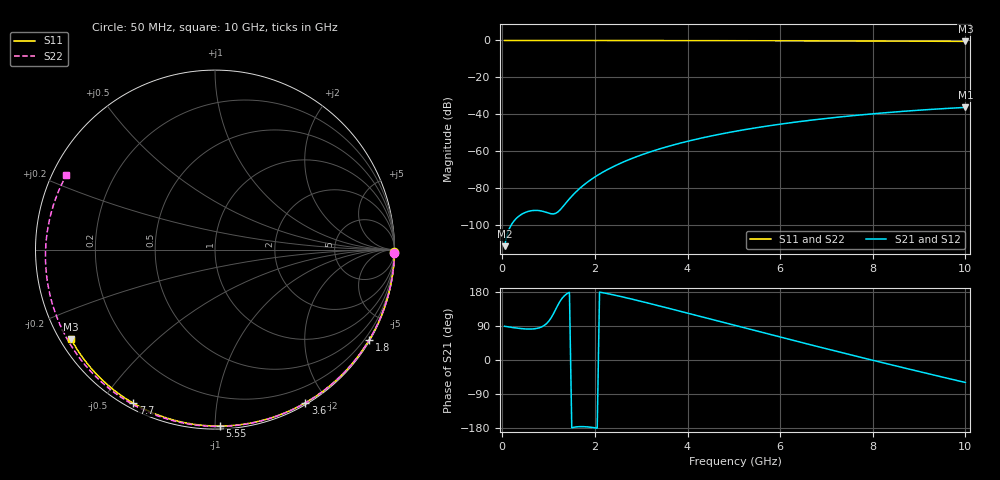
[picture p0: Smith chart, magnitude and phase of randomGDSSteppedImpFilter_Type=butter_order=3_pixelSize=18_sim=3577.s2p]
! freq	dB(S11)	phase(S11)	dB(S12)	phase(S12)
!  dB(S21)	phase(S21)	dB(S22)	phase(S22)
!S-par simulation data
#  GHz  S  DB  R 50
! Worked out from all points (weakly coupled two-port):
!   200 points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, 50 MHz to 10 GHz, reference 50 ohm
!   highest |S21| = -36.29 dB at 10 GHz (marker M1); lowest = -111.5 dB at 50 MHz (marker M2)
!   lowest |S11| = -0.5 dB at 10 GHz (marker M3), VSWR 34.87, Z = 1.55 - j14.2 ohm
!   |S11| at or under -10 dB: nowhere
!   |S22| runs from -0.7 to 0.0 dB; largest |S21 - S12| = 0
!   S11 on the Smith chart (normalised r, x): 50 MHz: open; 1.8 GHz: 0.03, -3.67; 3.6 GHz: 0.02, -1.75; 5.55 GHz: 0.02, -1.03; 7.7 GHz: 0.02, -0.60; 10 GHz: 0.03, -0.28
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0.05  -0.00 -0.9  -111.50 89.0  -111.50 89.0  -0.00 -1.1
0.8  -0.02 -13.7  -92.25 85.0  -92.25 85.0  -0.02 -17.5
1.65  -0.04 -28.0  -80.69 -175.9  -80.69 -175.9  -0.05 -35.7
1.7  -0.04 -28.9  -79.58 -175.7  -79.58 -175.7  -0.05 -36.8
1.75  -0.04 -29.7  -78.53 -175.8  -78.53 -175.8  -0.05 -37.8
1.8  -0.04 -30.5  -77.53 -176.2  -77.53 -176.2  -0.05 -38.9
2.1  -0.05 -35.5  -72.42 179.1  -72.42 179.1  -0.06 -45.2
2.5  -0.05 -42.0  -67.16 169.2  -67.16 169.2  -0.07 -53.5
2.9  -0.06 -48.4  -62.98 157.7  -62.98 157.7  -0.08 -61.7
3.4  -0.07 -56.4  -58.75 142.4  -58.75 142.4  -0.10 -71.8
3.6  -0.08 -59.5  -57.29 136.2  -57.29 136.2  -0.10 -75.7
4.3  -0.10 -70.2  -52.90 114.1  -52.90 114.1  -0.13 -89.5
5.05  -0.12 -81.3  -49.15 90.3  -49.15 90.3  -0.16 -103.9
5.55  -0.14 -88.5  -47.05 74.6  -47.05 74.6  -0.19 -113.4
6.1  -0.17 -96.3  -45.03 57.4  -45.03 57.4  -0.22 -123.9
6.7  -0.20 -104.6  -43.11 38.8  -43.11 38.8  -0.27 -135.3
7.7  -0.27 -118.0  -40.45 8.3  -40.45 8.3  -0.36 -155.0
8.35  -0.32 -126.6  -39.02 -11.2  -39.02 -11.2  -0.43 -168.4
8.8  -0.37 -132.5  -38.15 -24.5  -38.15 -24.5  -0.49 -178.1
9.2  -0.41 -137.7  -37.46 -36.2  -37.46 -36.2  -0.55 172.9
9.6  -0.45 -142.9  -36.84 -47.9  -36.84 -47.9  -0.60 163.4
10  -0.50 -148.2  -36.29 -59.3  -36.29 -59.3  -0.66 153.3
